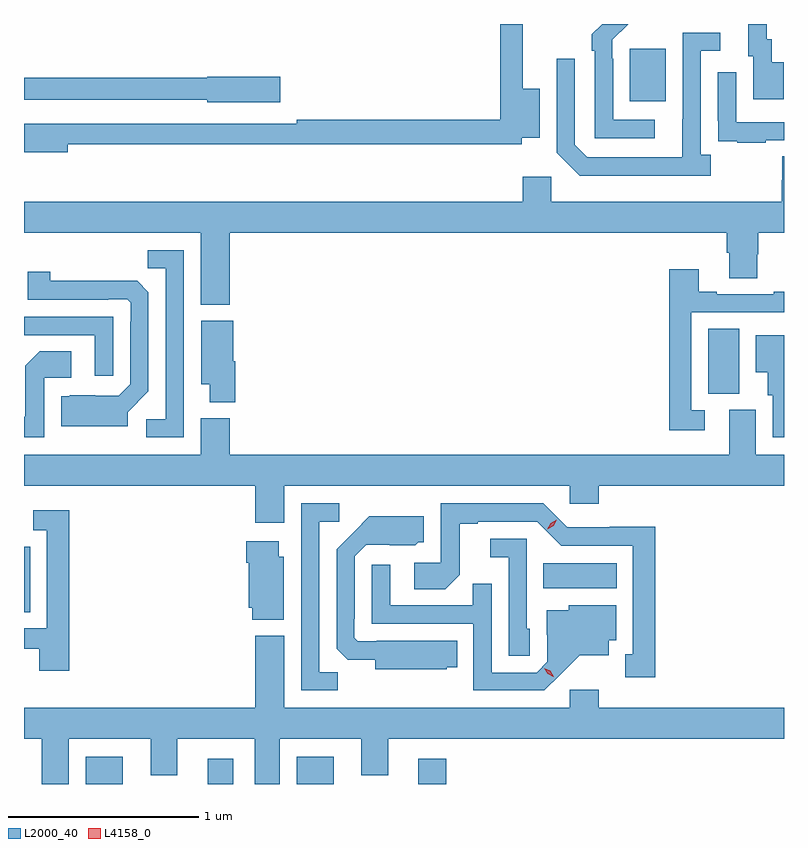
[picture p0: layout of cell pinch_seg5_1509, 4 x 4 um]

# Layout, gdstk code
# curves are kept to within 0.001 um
import gdstk
lib = gdstk.Library(unit=1e-6, precision=1e-09)
def R(c, l, rs):  # rectangles x0, y0, x1, y1
    for r in rs: c.add(gdstk.rectangle(r[:2], r[2:], *l))
def P(c, l, *ps):  # polygons
    for p in ps: c.add(gdstk.Polygon(p, *l))
L2000_40 = (2000, 40)
L4158_0 = (4158, 0)

pinch_seg5_1509 = lib.new_cell('pinch_seg5_1509')
R(pinch_seg5_1509, L2000_40, [(313.005,847.199,313.201,847.342), (313.646,847.199,313.78,847.333), (314.115,847.199,314.311,847.342), (314.756,847.199,314.903,847.333), (312.68,848.104,312.712,848.448), (315.412,848.228,315.799,848.362), (316.28,849.253,316.444,849.596), (315.869,850.793,316.057,851.068), (316.679,851.197,316.68,851.199)])
P(pinch_seg5_1509, L2000_40, [(316.678,850.999),(316.615,850.999),(316.615,851.118),(316.59,851.118),(316.59,851.199),(316.493,851.199),(316.493,851.028),(316.517,851.028),(316.517,850.803),(316.678,850.803)],
  [(316,850.695),(315.78,850.695),(315.78,851.015),(315.777,851.015),(315.777,851.115),(315.861,851.199),(315.723,851.199),(315.669,851.145),(315.669,851.057),(315.684,851.057),(315.684,850.599),(316,850.599)],
  [(312.91,850.566),(315.3,850.566),(315.3,850.601),(315.394,850.601),(315.394,850.858),(315.305,850.858),(315.305,851.199),(315.187,851.199),(315.187,850.694),(314.116,850.694),(314.116,850.674),(312.68,850.674),(312.68,850.523),(312.91,850.523)],
  [(316.294,850.51),(316.242,850.51),(316.242,851.058),(316.345,851.058),(316.345,851.154),(316.146,851.154),(316.145,850.497),(315.645,850.497),(315.579,850.563),(315.579,851.017),(315.483,851.017),(315.483,850.521),(315.604,850.4),(316.294,850.4)],
  [(316.583,850.587),(316.68,850.587),(316.68,850.683),(316.428,850.683),(316.428,850.945),(316.332,850.945),(316.332,850.69),(316.333,850.69),(316.333,850.581),(316.435,850.581),(316.435,850.575),(316.583,850.575)],
  [(314.029,850.922),(313.644,850.922),(313.644,850.916),(312.68,850.916),(312.68,850.8),(313.644,850.8),(313.644,850.787),(314.029,850.787)],
  [(313.763,850.1),(316.379,850.1),(316.379,849.994),(316.391,849.994),(316.391,849.862),(316.539,849.862),(316.539,849.987),(316.544,849.987),(316.544,850.1),(316.68,850.1),(316.68,850.502),(316.672,850.502),(316.672,850.377),(316.667,850.377),(316.667,850.264),(315.456,850.264),(315.456,850.396),(315.305,850.396),(315.305,850.264),(312.68,850.264),(312.68,850.1),(313.61,850.1),(313.61,849.722),(313.763,849.722)],
  [(313.521,850.008),(313.33,850.008),(313.33,849.913),(313.425,849.913),(313.425,849.12),(313.323,849.12),(313.323,849.024),(313.521,849.024)],
  [(316.264,849.165),(316.191,849.165),(316.191,849.681),(316.68,849.681),(316.68,849.79),(316.627,849.79),(316.627,849.777),(316.327,849.777),(316.327,849.79),(316.231,849.79),(316.231,849.907),(316.075,849.907),(316.075,849.06),(316.264,849.06)],
  [(313.225,849.156),(313.335,849.266),(313.335,849.788),(313.276,849.847),(312.819,849.848),(312.819,849.895),(312.7,849.895),(312.7,849.747),(313.124,849.747),(313.124,849.75),(313.224,849.75),(313.242,849.732),(313.242,849.632),(313.239,849.632),(313.239,849.303),(313.179,849.243),(312.922,849.244),(312.919,849.241),(312.875,849.241),(312.875,849.083),(313.225,849.083)],
  [(313.149,849.657),(312.68,849.657),(312.68,849.561),(313.053,849.561),(313.053,849.348),(313.149,849.348)],
  [(313.793,849.423),(313.78,849.423),(313.78,849.637),(313.613,849.637),(313.613,849.302),(313.658,849.302),(313.658,849.209),(313.793,849.209)],
  [(316.68,849.562),(316.532,849.562),(316.532,849.365),(316.595,849.365),(316.595,849.246),(316.62,849.246),(316.62,849.024),(316.68,849.024)],
  [(312.786,849.336),(312.928,849.336),(312.928,849.476),(312.763,849.476),(312.687,849.4),(312.687,849.133),(312.68,849.133),(312.68,849.024),(312.786,849.024)],
  [(314.05,848.768),(315.552,848.768),(315.552,848.675),(315.704,848.675),(315.704,848.768),(316.68,848.768),(316.68,848.932),(316.531,848.932),(316.531,849.168),(316.391,849.168),(316.391,848.932),(313.763,848.932),(313.763,849.124),(313.61,849.124),(313.61,848.932),(312.68,848.932),(312.68,848.768),(313.898,848.768),(313.898,848.574),(314.05,848.574)],
  [(314.331,847.787),(314.235,847.787),(314.235,848.58),(314.338,848.58),(314.338,848.676),(314.139,848.676),(314.139,847.692),(314.331,847.692)],
  [(316.003,848.552),(315.762,848.552),(315.762,848.55),(315.54,848.55),(315.414,848.676),(314.874,848.676),(314.874,848.364),(314.733,848.364),(314.733,848.224),(314.897,848.224),(314.973,848.3),(314.973,848.568),(315.067,848.568),(315.067,848.58),(315.381,848.58),(315.507,848.454),(315.884,848.454),(315.884,847.881),(315.845,847.881),(315.845,847.761),(316.003,847.761)],
  [(312.917,848.641),(312.729,848.641),(312.729,848.535),(312.801,848.535),(312.801,848.019),(312.68,848.019),(312.68,847.911),(312.761,847.911),(312.761,847.794),(312.917,847.794)],
  [(314.904,847.814),(314.96,847.814),(314.96,847.954),(314.536,847.954),(314.536,847.95),(314.436,847.95),(314.418,847.968),(314.418,848.068),(314.421,848.068),(314.421,848.397),(314.481,848.457),(314.738,848.456),(314.754,848.472),(314.785,848.472),(314.785,848.608),(314.497,848.608),(314.325,848.434),(314.325,847.912),(314.384,847.853),(314.528,847.853),(314.528,847.802),(314.904,847.802)],
  [(315.342,848.016),(315.327,848.016),(315.327,848.49),(315.135,848.49),(315.135,848.393),(315.231,848.393),(315.231,847.873),(315.342,847.873)],
  [(314.047,848.394),(314.02,848.394),(314.02,848.476),(313.85,848.476),(313.85,848.363),(313.862,848.363),(313.862,848.127),(313.88,848.127),(313.88,848.063),(314.047,848.063)],
  [(315.502,847.775),(315.605,847.877),(315.757,847.877),(315.757,847.956),(315.796,847.956),(315.796,848.14),(315.546,848.14),(315.546,848.113),(315.431,848.113),(315.431,847.984),(315.435,847.984),(315.435,847.842),(315.378,847.785),(315.141,847.785),(315.141,848.252),(315.043,848.252),(315.043,848.139),(314.607,848.139),(314.607,848.353),(314.511,848.353),(314.511,848.043),(315.045,848.043),(315.045,847.692),(315.418,847.692)],
  [(312.916,847.436),(313.346,847.436),(313.346,847.246),(313.486,847.246),(313.486,847.436),(313.895,847.436),(313.895,847.199),(314.026,847.199),(314.026,847.436),(314.456,847.436),(314.456,847.246),(314.596,847.246),(314.596,847.436),(316.68,847.436),(316.68,847.6),(315.704,847.6),(315.704,847.696),(315.552,847.696),(315.552,847.6),(314.05,847.6),(314.05,847.978),(313.898,847.978),(313.898,847.6),(312.68,847.6),(312.68,847.436),(312.773,847.436),(312.773,847.199),(312.916,847.199)])
P(pinch_seg5_1509, L4158_0, [(315.466,847.764),(315.436,847.779),(315.418,847.808),(315.418,847.809),(315.419,847.809),(315.449,847.794),(315.467,847.764),(315.467,847.764)],
  [(315.434,848.54),(315.434,848.54),(315.453,848.572),(315.485,848.59),(315.485,848.59),(315.485,848.59),(315.467,848.558),(315.435,848.54)])

lib.write_gds('pinch_seg5_1509.gds')
